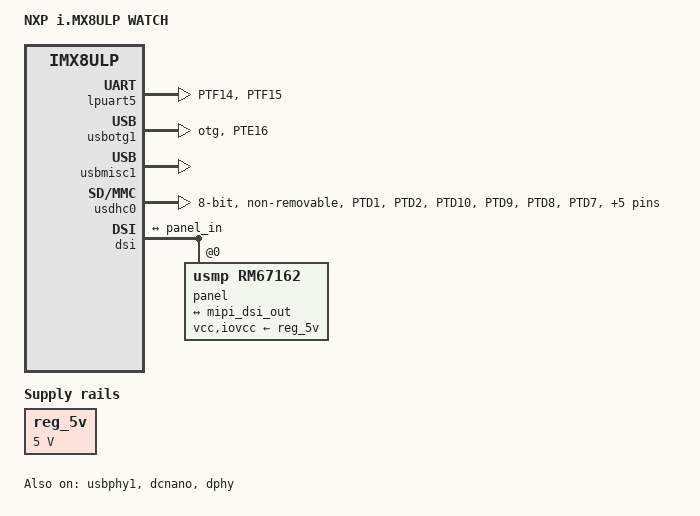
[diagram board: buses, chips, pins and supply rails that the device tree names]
// SPDX-License-Identifier: (GPL-2.0 OR MIT)
/*
 * Copyright 2022 NXP
 */

/dts-v1/;

#include "imx8ulp.dtsi"

/ {
	model = "NXP i.MX8ULP WATCH";
	compatible = "fsl,imx8ulp-watch", "fsl,imx8ulp";

	chosen {
		stdout-path = &lpuart5;
		bootargs = "console=ttyLP1,115200 earlycon";
	};

	reserved-memory {
		#address-cells = <2>;
		#size-cells = <2>;
		ranges;

		linux,cma {
			compatible = "shared-dma-pool";
			reusable;
			size = <0 0x28000000>;
			linux,cma-default;
		};

	};

	reg_5v: regulator-5v {
		compatible = "regulator-fixed";
		regulator-name = "5V";
		regulator-min-microvolt = <5000000>;
		regulator-max-microvolt = <5000000>;
		regulator-always-on;
	};
};


&clock_ext_ts {
	/* External ts clock is 50MHZ from PHY on EVK board. */
	clock-frequency = <50000000>;
};

&lpuart5 {
	/* console */
	pinctrl-names = "default", "sleep";
	pinctrl-0 = <&pinctrl_lpuart5>;
	pinctrl-1 = <&pinctrl_lpuart5>;
	status = "okay";
};

&usbotg1 {
	pinctrl-names = "default", "sleep";
	pinctrl-0 = <&pinctrl_otgid1>;
	pinctrl-1 = <&pinctrl_otgid1>;
	dr_mode = "otg";
	hnp-disable;
	srp-disable;
	adp-disable;
	over-current-active-low;
	status = "okay";
};

&usbphy1 {
	status = "okay";
};

&usbmisc1 {
	status = "okay";
};

&usdhc0 {
	pinctrl-names = "default", "state_100mhz", "state_200mhz", "sleep";
	pinctrl-0 = <&pinctrl_usdhc0>;
	pinctrl-1 = <&pinctrl_usdhc0>;
	pinctrl-2 = <&pinctrl_usdhc0>;
	pinctrl-3 = <&pinctrl_usdhc0>;
	non-removable;
	bus-width = <8>;
	status = "okay";
};

&iomuxc1 {
	pinctrl_lpuart5: lpuart5grp {
		fsl,pins = <
			MX8ULP_PAD_PTF14__LPUART5_TX	0x3
			MX8ULP_PAD_PTF15__LPUART5_RX	0x3
		>;
	};

	pinctrl_otgid1: usb1grp {
		fsl,pins = <
			MX8ULP_PAD_PTE16__USB0_ID	0x10003
		>;
	};

	pinctrl_usdhc0: usdhc0grp {
		fsl,pins = <
			MX8ULP_PAD_PTD1__SDHC0_CMD	0x3
			MX8ULP_PAD_PTD2__SDHC0_CLK	0x10002
			MX8ULP_PAD_PTD10__SDHC0_D0	0x3
			MX8ULP_PAD_PTD9__SDHC0_D1	0x3
			MX8ULP_PAD_PTD8__SDHC0_D2	0x3
			MX8ULP_PAD_PTD7__SDHC0_D3	0x3
			MX8ULP_PAD_PTD6__SDHC0_D4	0x3
			MX8ULP_PAD_PTD5__SDHC0_D5	0x3
			MX8ULP_PAD_PTD4__SDHC0_D6	0x3
			MX8ULP_PAD_PTD3__SDHC0_D7	0x3
			MX8ULP_PAD_PTD11__SDHC0_DQS	0x10002
		>;
	};
};

&dsi {
	status = "okay";

	panel@0 {
		compatible = "usmp,rm67162";
		reg = <0>;
		dsi-lanes = <1>;
		reset,otherway;
		vcc-supply = <&reg_5v>;
		iovcc-supply = <&reg_5v>;

		port {
			panel_in: endpoint {
				remote-endpoint = <&mipi_dsi_out>;
			};
		};
	};

	ports {
		port@1 {
			reg = <1>;

			mipi_dsi_out: endpoint {
				remote-endpoint = <&panel_in>;
			};
		};
	};
};

&dcnano {
	status = "okay";
};

&dphy {
	status = "okay";
};

&usbotg2 {
	status = "disabled";
};
